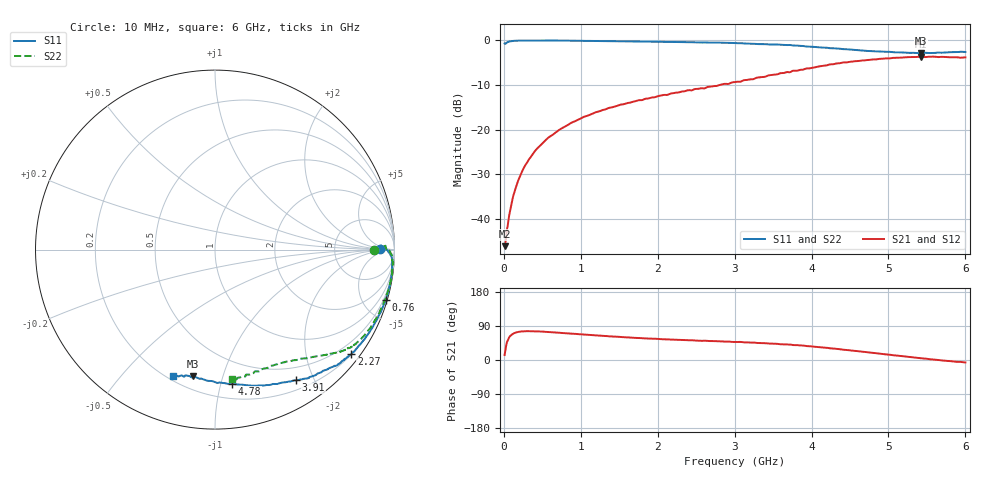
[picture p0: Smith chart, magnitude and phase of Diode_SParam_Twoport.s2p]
#  HZ  S  DB  R  50.00
! Rohde & Schwarz ZVA24 4Ports - Version 2.90 - 1145.1110k26 SN: 100216
! Date: 2012-03-15 14:43:22
! Measurements: S11 S21 S12 S22
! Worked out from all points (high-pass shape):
!   600 points, 10 MHz to 6 GHz, reference 50 ohm
!   highest |S21| = -3.67 dB at 5.42 GHz (marker M1); lowest = -46.1 dB at 10 MHz (marker M2)
!   |S21| within 3 dB of the highest: 3.838 GHz to end of sweep
!   lowest |S11| = -2.9 dB at 5.42 GHz (marker M3), VSWR 6.01, Z = 14 - j40.2 ohm
!   |S11| at or under -10 dB: nowhere
!   |S22| runs from -2.9 to 0.0 dB; largest |S21 - S12| = 0.0084
!   S11 on the Smith chart (normalised r, x): 10 MHz: 25, +2; 760 MHz: 0.22, -6.88; 2.27 GHz: 0.21, -2.93; 3.91 GHz: 0.32, -1.75; 4.78 GHz: 0.31, -1.09; 6 GHz: 0.23, -0.70
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1e7  -0.71 0.3  -46.11 13.2  -46.78 7.9  -1.04 -0.2
3e7  -0.67 1.4  -44.10 37.5  -43.94 39.2  -0.63 0.8
7e7  -0.31 -0.7  -39.15 59.8  -39.11 60.5  -0.30 -0.1
1.2e8  -0.16 -2.1  -35.01 69.2  -34.93 68.8  -0.16 -1.4
1.8e8  -0.09 -3.7  -31.73 73.8  -31.75 73.8  -0.09 -2.6
2.5e8  -0.08 -5.3  -28.89 75.5  -28.91 75.5  -0.06 -3.8
4.3e8  -0.05 -9.6  -24.30 75.4  -24.34 75.5  -0.04 -7.0
5.7e8  -0.06 -12.6  -21.93 73.8  -21.93 73.8  -0.05 -9.3
7.6e8  -0.08 -16.5  -19.65 71.3  -19.63 71.3  -0.07 -12.5
1.01e9  -0.13 -21.3  -17.44 67.7  -17.40 67.6  -0.11 -16.5
1.37e9  -0.21 -27.2  -15.13 62.5  -15.15 62.5  -0.20 -22.0
2.01e9  -0.34 -35.3  -12.49 55.5  -12.55 55.2  -0.34 -29.3
2.27e9  -0.39 -37.5  -11.70 53.2  -11.77 53.4  -0.40 -31.3
3.01e9  -0.65 -44.3  -9.34 47.6  -9.35 47.2  -0.68 -36.3
3.54e9  -0.95 -51.1  -7.67 42.8  -7.68 42.8  -0.90 -39.1
3.91e9  -1.34 -58.2  -6.44 37.4  -6.38 37.2  -1.26 -42.2
4.01e9  -1.46 -60.5  -6.16 35.8  -6.14 35.9  -1.36 -43.2
4.32e9  -1.85 -69.1  -5.21 29.5  -5.24 29.8  -1.76 -46.9
4.78e9  -2.46 -82.8  -4.33 19.2  -4.31 19.1  -2.41 -54.4
5.01e9  -2.59 -89.1  -4.07 14.2  -4.01 13.7  -2.68 -59.0
5.42e9  -2.92 -99.7  -3.67 4.3  -3.73 4.6  -2.91 -68.4
6e9  -2.62 -108.4  -3.84 -6.6  -3.84 -6.5  -2.74 -82.4
